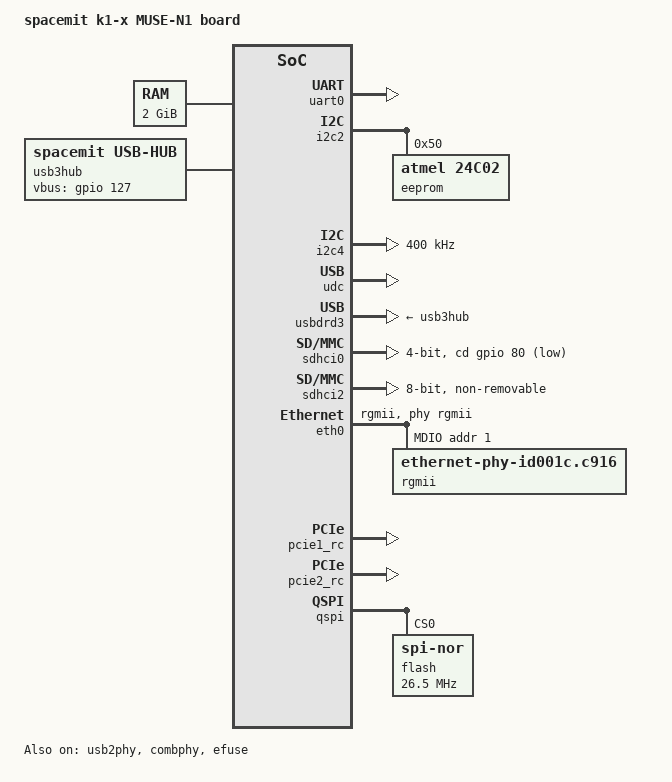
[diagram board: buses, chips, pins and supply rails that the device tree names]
// SPDX-License-Identifier: (GPL-2.0 OR MIT)
/* Copyright (c) 2023 Spacemit, Inc */

/dts-v1/;

#include "k1-x.dtsi"
#include "k1-x_pinctrl.dtsi"
#include "k1-x_spm8821.dtsi"

/ {
	model = "spacemit k1-x MUSE-N1 board";

	aliases {
		efuse_power = &ldo_31;
	};

	memory@0 {
		device_type = "memory";
		reg = <0x00000000 0x00000000 0x00000000 0x80000000>;
	};

	chosen {
		bootargs = "earlycon=sbi console=ttyS0,115200 debug loglevel=8,initcall_debug=1 rdinit=/init.tmp";
		stdout-path = "serial0:115200n8";
	};

	usb3hub:usb3hub {
		compatible = "spacemit,usb-hub";
		vbus-gpios = <&gpio 127 0>;	/* gpio_97 for usb3 hub output vbus */
		regulator-force-boot-off;
		status = "okay";
	};
};

&cpu_0 {
	/* boot frequency for cluster-0, should be 1600000, 1228000, 819000, or 614000 */
	boot_freq_cluster0 = <1228000>;
	/* boot frequency for cluster-1, should be 1600000, 1228000, 819000, or 614000 */
	boot_freq_cluster1 = <1228000>;
};

&dramc {
	/* dram data rate, should be 1200, 1600, or 2400 */
	datarate = <2400>;
};

&cpus {
	timebase-frequency = <24000000>;
};

&uart0 {
	status = "okay";
};

&i2c2 {
	#address-cells = <1>;
	#size-cells = <0>;
	pinctrl-names = "default";
	pinctrl-0 = <&pinctrl_i2c2_0>;
	status = "okay";

	eeprom@50{
		compatible = "atmel,24c02";
		reg = <0x50>;
		vin-supply-names = "eeprom_1v8";
		status = "okay";
	};
};

&i2c4 {
	clock-frequency = <400000>;
	status = "okay";
};

&pinctrl {
	pinctrl-single,gpio-range = <
		&range GPIO_49  2 (MUX_MODE0 | EDGE_NONE | PULL_UP   | PAD_3V_DS4)
		&range GPIO_58  1 (MUX_MODE0 | EDGE_NONE | PULL_DOWN | PAD_1V8_DS2)
		&range GPIO_63  2 (MUX_MODE0 | EDGE_NONE | PULL_DOWN | PAD_1V8_DS2)
		&range GPIO_65  1 (MUX_MODE0 | EDGE_NONE | PULL_UP   | PAD_1V8_DS2)
		&range GPIO_66  2 (MUX_MODE0 | EDGE_NONE | PULL_DOWN | PAD_1V8_DS2)
		&range GPIO_75  1 (MUX_MODE0 | EDGE_NONE | PULL_UP   | PAD_1V8_DS2)
		&range GPIO_90  1 (MUX_MODE0 | EDGE_NONE | PULL_DOWN | PAD_1V8_DS2)
		&range GPIO_110 1 (MUX_MODE0 | EDGE_NONE | PULL_DOWN | PAD_1V8_DS2)
		&range GPIO_115 2 (MUX_MODE0 | EDGE_NONE | PULL_DOWN | PAD_1V8_DS2)
		&range GPIO_125 1 (MUX_MODE0 | EDGE_NONE | PULL_DOWN | PAD_1V8_DS2)
                &range GPIO_127 1 (MUX_MODE0 | EDGE_NONE | PULL_DOWN | PAD_1V8_DS2)
	>;

	gpio80_pmx_func0: gpio80_pmx_func0 {
		pinctrl-single,pins = <
			K1X_PADCONF(GPIO_80, MUX_MODE0, (EDGE_BOTH | PULL_UP | PAD_3V_DS4))  /* mmc cd */
		>;
	};
};

&gpio{
	gpio-ranges = <
		&pinctrl 49 GPIO_49 2
		&pinctrl 58 GPIO_58 1
		&pinctrl 63 GPIO_63 5
                &pinctrl 75 GPIO_75 1
                &pinctrl 79 GPIO_79 1
		&pinctrl 90 GPIO_90 1
		&pinctrl 110 GPIO_110 1
		&pinctrl 115 GPIO_115 2
		&pinctrl 125 GPIO_125 1
                &pinctrl 127 GPIO_127 1
	>;
};

&udc {
	status = "okay";
};

&usb2phy {
	status = "okay";
};

&combphy {
	status = "okay";
};

&usbdrd3 {
	status = "okay";
	vbus-supply = <&usb3hub>;
	dwc3@c0a00000 {
		dr_mode = "host";
		phy_type = "utmi";
		snps,dis_enblslpm_quirk;
		snps,dis-u2-freeclk-exists-quirk;
		snps,dis-del-phy-power-chg-quirk;
		snps,dis_u2_susphy_quirk;
		snps,dis_u3_susphy_quirk;
	};
};

&sdhci0 {
	pinctrl-names = "default";
	pinctrl-0 = <&pinctrl_mmc1 &gpio80_pmx_func0>;
	bus-width = <4>;
	cd-gpios = <&gpio 80 0>;
	cd-inverted;
	cap-sd-highspeed;
	sdh-phy-module = <0>;
	clk-src-freq = <204800000>;
	status = "okay";
};

/* eMMC */
&sdhci2 {
	bus-width = <8>;
	non-removable;
	mmc-hs400-1_8v;
	mmc-hs400-enhanced-strobe;
	sdh-phy-module = <1>;
	clk-src-freq = <375000000>;
	status = "okay";
};

&eth0 {
	status = "okay";
	pinctrl-names = "default";
	pinctrl-0 = <&pinctrl_gmac0>;

	phy-reset-pin = <110>;

	clk_tuning_enable;
	clk-tuning-by-delayline;
	tx-phase = <90>;
	rx-phase = <73>;

	phy-mode = "rgmii";
	phy-addr = <1>;
	phy-handle = <&rgmii>;

	ref-clock-from-phy;

	mdio {
		#address-cells = <0x1>;
		#size-cells = <0x0>;
		rgmii: phy@0 {
			compatible = "ethernet-phy-id001c.c916";
			device_type = "ethernet-phy";
			reg = <0x1>;
		};
	};
};

&pcie1_rc {
	pinctrl-names = "default";
	pinctrl-0 = <&pinctrl_pcie1_3>;
	status = "okay";
};

&pcie2_rc {
	pinctrl-names = "default";
	pinctrl-0 = <&pinctrl_pcie2_4>;
	status = "okay";
};

&qspi {
	status = "okay";
	pinctrl-names = "default";
	pinctrl-0 = <&pinctrl_qspi>;

	flash@0 {
		compatible = "jedec,spi-nor";
		reg = <0>;
		spi-max-frequency = <26500000>;
		m25p,fast-read;
		broken-flash-reset;
		status = "okay";
	};
};

&efuse {
	status = "okay";
};
